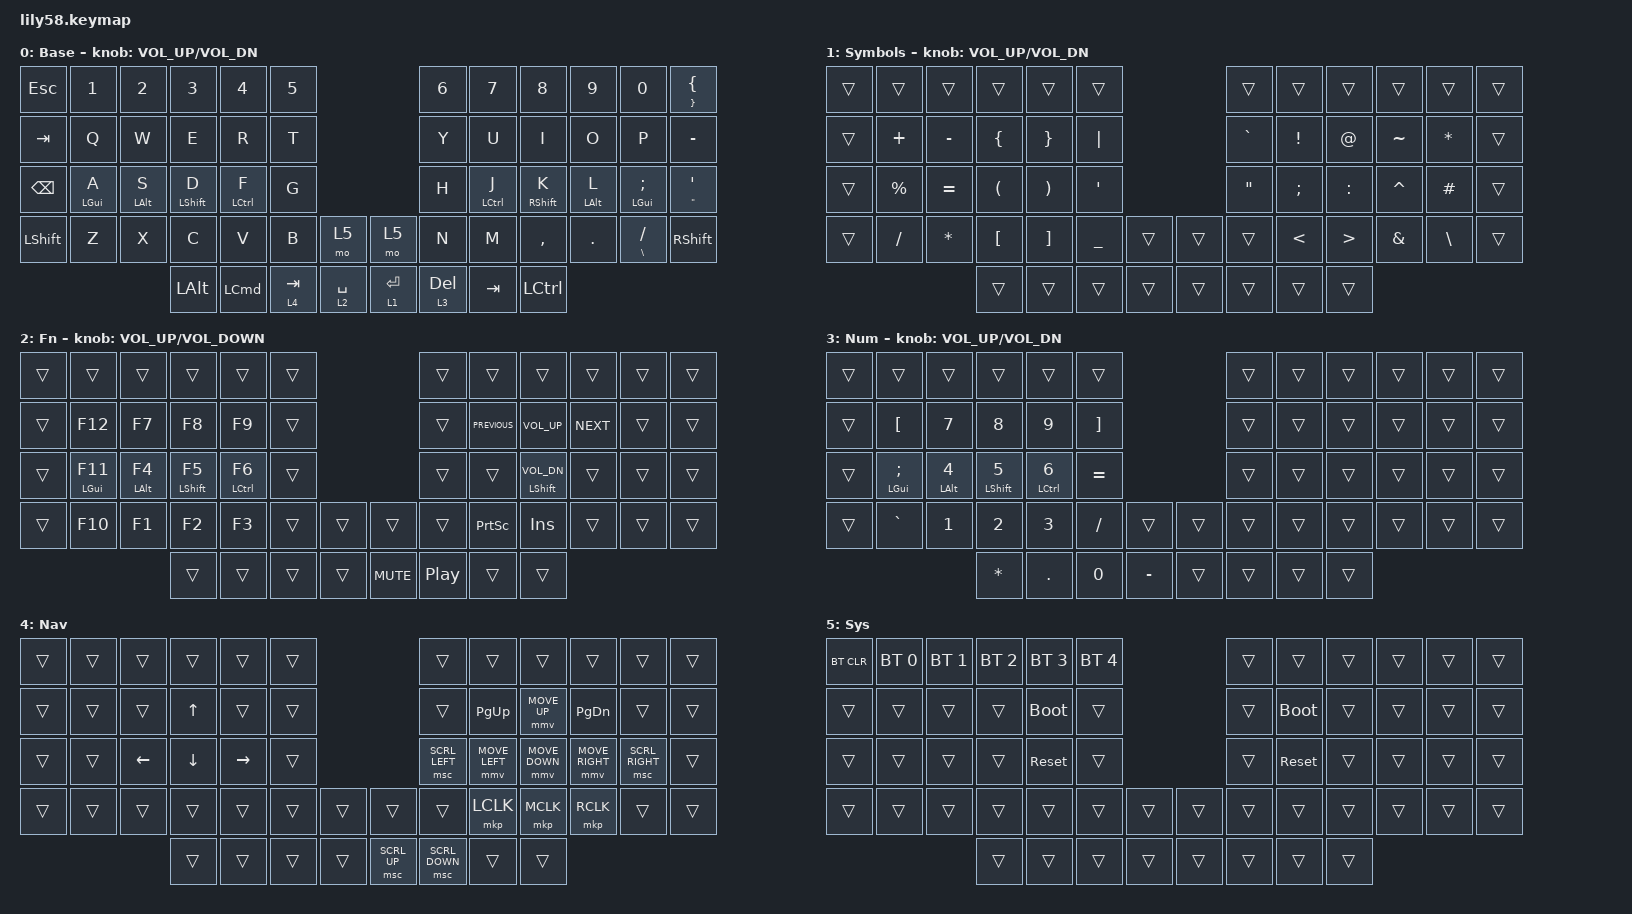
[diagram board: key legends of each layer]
/*
 * Copyright (c) 2020 The ZMK Contributors
 *
 * SPDX-License-Identifier: MIT
 */

#define LILY58_STANDARD_LABELS

#include <zmk-helpers/key-labels/lily58.h>
#include <behaviors.dtsi>
#include <dt-bindings/zmk/bt.h>
#include <dt-bindings/zmk/keys.h>
#include <dt-bindings/zmk/pointing.h>

#define QUICK_TAP_MS 175

/*                                      58 KEY MATRIX / LAYOUT MAPPING
  ╭────────────────────────────┬────────────────────────────╮ ╭─────────────────────────────┬─────────────────────────────╮
  │  0   1   2   3   4   5     │      6   7   8   9  10  11 │ │ LN5 LN4 LN3 LN2 LN1 LN0     │     RN0 RN1 RN2 RN3 RN4 RN5 │
  │ 12  13  14  15  16  17     │     18  19  20  21  22  23 │ │ LT5 LT4 LT3 LT2 LT1 LT0     │     RT0 RT1 RT2 RT3 RT4 RT5 │
  │ 24  25  26  27  28  29     │     30  31  32  33  34  35 │ │ LM5 LM4 LM3 LM2 LM1 LM0     │     RM0 RM1 RM2 RM3 RM4 RM5 │
  │ 36  37  38  39  40  41  42 │ 43  44  45  46  47  48  49 │ │ LB5 LB4 LB3 LB2 LB1 LB0 LEC │ REC RB0 RB1 RB2 RB3 RB4 RB5 │
  ╰───────────╮ 50  51  52  53 │ 54  55  56  57 ╭───────────╯ ╰───────────╮ LH3 LH2 LH1 LH0 │ RH0 RH1 RH2 RH3 ╭───────────╯
              ╰────────────────┴────────────────╯                         ╰─────────────────┴─────────────────╯             */

#define KEYS_L LN5 LN4 LN3 LN2 LN1 LN0 LT5 LT4 LT3 LT2 LT1 LT0 LM5 LM4 LM3 LM2 LM1 LM0 LB5 LB4 LB3 LB2 LB1 LB0 LEC
#define KEYS_R RN0 RN1 RN2 RN3 RN4 RN5 RT0 RT1 RT2 RT3 RT4 RT5 RM0 RM1 RM2 RM3 RM4 RM5 RB0 RB1 RB2 RB3 RB4 RB5 REC
#define THUMBS_L LH3 LH2 LH1 LH0
#define THUMBS_R RH0 RH1 RH2 RH3
#define THUMBS THUMBS_L THUMBS_R

&lt {
    flavor = "balanced";
    tapping-term-ms = <200>;
    quick-tap-ms = <QUICK_TAP_MS>;
};

/ {
    behaviors {
        hml: home_row_mod_left {
            compatible = "zmk,behavior-hold-tap";
            #binding-cells = <2>;
            flavor = "balanced";
            require-prior-idle-ms = <150>;
            tapping-term-ms = <280>;
            quick-tap-ms = <175>;
            bindings = <&kp>, <&kp>;

            hold-trigger-key-positions = < KEYS_R THUMBS>;
            hold-trigger-on-release;
        };

        hmr: home_row_mod_right {
            compatible = "zmk,behavior-hold-tap";
            #binding-cells = <2>;
            flavor = "balanced";
            require-prior-idle-ms = <150>;
            tapping-term-ms = <280>;
            quick-tap-ms = <175>;
            bindings = <&kp>, <&kp>;

            hold-trigger-key-positions = < KEYS_L THUMBS>;
            hold-trigger-on-release;
        };
    };

    keymap {
        compatible = "zmk,keymap";

        Base {
            // ------------------------------------------------------------------------------------------------------------
            // |  ESC  |  1  |  2  |  3   |  4   |  5   |                   |  6   |  7    |  8    |  9   |   0   |   `   |
            // |  TAB  |  Q  |  W  |  E   |  R   |  T   |                   |  Y   |  U    |  I    |  O   |   P   |   -   |
            // |  CTRL |  A  |  S  |  D   |  F   |  G   |                   |  H   |  J    |  K    |  L   |   ;   |   '   |
            // | SHIFT |  Z  |  X  |  C   |  V   |  B   |   "["  |  |  "]"  |  N   |  M    |  ,    |  .   |   /   | SHIFT |
            //                     | ALT  | GUI  | LOWER|  SPACE |  | ENTER | RAISE| BSPC  | GUI   |

            display-name = "Base";
            bindings = <
&kp ESC        &kp N1       &kp N2       &kp N3        &kp N4            &kp N5                                 &kp N6        &kp N7        &kp N8        &kp N9       &kp N0               &mt RIGHT_BRACE LEFT_BRACE
&kp TAB        &kp Q        &kp W        &kp E         &kp R             &kp T                                  &kp Y         &kp U         &kp I         &kp O        &kp P                &kp MINUS
&kp BACKSPACE  &hml LGUI A  &hml LALT S  &hml LSHFT D  &hml LCTRL F      &kp G                                  &kp H         &hml LCTRL J  &hml RSHFT K  &hml LALT L  &hml LGUI SEMI       &mt DOUBLE_QUOTES SINGLE_QUOTE
&kp LSHFT      &kp Z        &kp X        &kp C         &kp V             &kp B      &mo 5          &mo 5        &kp N         &kp M         &kp COMMA     &kp DOT      &mt BACKSLASH SLASH  &kp RSHFT
                                         &kp LALT      &kp LEFT_COMMAND  &lt 4 TAB  &lt 2 SPACE    &lt 1 ENTER  &lt 3 DELETE  &kp TAB       &kp LCTRL
            >;

            sensor-bindings = <&inc_dec_kp C_VOL_UP C_VOL_DN>;
        };

        Symbols {
            // ------------------------------------------------------------------------------------------------------------
            // | BTCLR | BT1 | BT2 |  BT3 |  BT4 |  BT5 |                   |      |       |       |      |       |       |
            // |  F1   |  F2 |  F3 |  F4  |  F5  |  F6  |                   |  F7  |  F8   |  F9   |  F10 |  F11  |  F12  |
            // |   `   |  !  |  @  |  #   |  $   |  %   |                   |  ^   |  &    |  *    |  (   |   )   |   ~   |
            // |       |     |     |      |      |      |        |  |       |      |  _    |  +    |  {   |   }   |  "|"  |
            //                     |      |      |      |        |  |       |      |       |       |

            display-name = "Symbols";
            bindings = <
&trans  &trans       &trans     &trans                &trans                 &trans                              &trans             &trans           &trans            &trans     &trans         &trans
&trans  &kp PLUS     &kp MINUS  &kp LEFT_BRACE        &kp RIGHT_BRACE        &kp PIPE                            &kp GRAVE          &kp EXCLAMATION  &kp AT_SIGN       &kp TILDE  &kp ASTERISK   &trans
&trans  &kp PERCENT  &kp EQUAL  &kp LEFT_PARENTHESIS  &kp RIGHT_PARENTHESIS  &kp SINGLE_QUOTE                    &kp DOUBLE_QUOTES  &kp SEMI         &kp COLON         &kp CARET  &kp HASH       &trans
&trans  &kp SLASH    &kp ASTRK  &kp LEFT_BRACKET      &kp RIGHT_BRACKET      &kp UNDER         &trans    &trans  &trans             &kp LESS_THAN    &kp GREATER_THAN  &kp AMPS   &kp BACKSLASH  &trans
                                &trans                &trans                 &trans            &trans    &trans  &trans             &trans           &trans
            >;

            sensor-bindings = <&inc_dec_kp C_VOL_UP C_VOL_DN>;
        };

        Func {
            bindings = <
&trans  &trans         &trans        &trans         &trans         &trans                        &trans            &trans           &trans               &trans      &trans  &trans
&trans  &kp F12        &kp F7        &kp F8         &kp F9         &trans                        &trans            &kp C_PREVIOUS   &kp C_VOL_UP         &kp C_NEXT  &trans  &trans
&trans  &hml LGUI F11  &hml LALT F4  &hml LSHFT F5  &hml LCTRL F6  &trans                        &trans            &trans           &hml LSHFT C_VOL_DN  &trans      &trans  &trans
&trans  &kp F10        &kp F1        &kp F2         &kp F3         &trans  &trans    &trans      &trans            &kp PRINTSCREEN  &kp INSERT           &trans      &trans  &trans
                                     &trans         &trans         &trans  &trans    &kp C_MUTE  &kp C_PLAY_PAUSE  &trans           &trans
            >;

            label = "Fn";
            sensor-bindings = <&inc_dec_kp C_VOLUME_UP C_VOLUME_DOWN>;
        };

        Numbers {
            bindings = <
&trans  &trans          &trans        &trans         &trans         &trans                          &trans  &trans  &trans  &trans  &trans  &trans
&trans  &kp LBKT        &kp N7        &kp N8         &kp N9         &kp RBKT                        &trans  &trans  &trans  &trans  &trans  &trans
&trans  &hml LGUI SEMI  &hml LALT N4  &hml LSHFT N5  &hml LCTRL N6  &kp EQUAL                       &trans  &trans  &trans  &trans  &trans  &trans
&trans  &kp GRAVE       &kp N1        &kp N2         &kp N3         &kp SLASH  &trans       &trans  &trans  &trans  &trans  &trans  &trans  &trans
                                      &kp ASTRK      &kp DOT        &kp N0     &kp MINUS    &trans  &trans  &trans  &trans
            >;

            label = "Num";
            sensor-bindings = <&inc_dec_kp C_VOL_UP C_VOL_DN>;
        };

        Navigation {
            bindings = <
&trans  &trans  &trans    &trans    &trans     &trans                          &trans          &trans          &trans          &trans           &trans           &trans
&trans  &trans  &trans    &kp UP    &trans     &trans                          &trans          &kp PAGE_UP     &mmv MOVE_UP    &kp PAGE_DOWN    &trans           &trans
&trans  &trans  &kp LEFT  &kp DOWN  &kp RIGHT  &trans                          &msc SCRL_LEFT  &mmv MOVE_LEFT  &mmv MOVE_DOWN  &mmv MOVE_RIGHT  &msc SCRL_RIGHT  &trans
&trans  &trans  &trans    &trans    &trans     &trans  &trans    &trans        &trans          &mkp LCLK       &mkp MCLK       &mkp RCLK        &trans           &trans
                          &trans    &trans     &trans  &trans    &msc SCRL_UP  &msc SCRL_DOWN  &trans          &trans
            >;

            label = "Nav";
        };

        System {
            bindings = <
&bt BT_CLR  &bt BT_SEL 0  &bt BT_SEL 1  &bt BT_SEL 2  &bt BT_SEL 3  &bt BT_SEL 4                    &trans  &trans       &trans  &trans  &trans  &trans
&trans      &trans        &trans        &trans        &bootloader   &trans                          &trans  &bootloader  &trans  &trans  &trans  &trans
&trans      &trans        &trans        &trans        &sys_reset    &trans                          &trans  &sys_reset   &trans  &trans  &trans  &trans
&trans      &trans        &trans        &trans        &trans        &trans        &trans    &trans  &trans  &trans       &trans  &trans  &trans  &trans
                                        &trans        &trans        &trans        &trans    &trans  &trans  &trans       &trans
            >;

            label = "Sys";
        };
    };

    conditional_layers { compatible = "zmk,conditional-layers"; };
};
